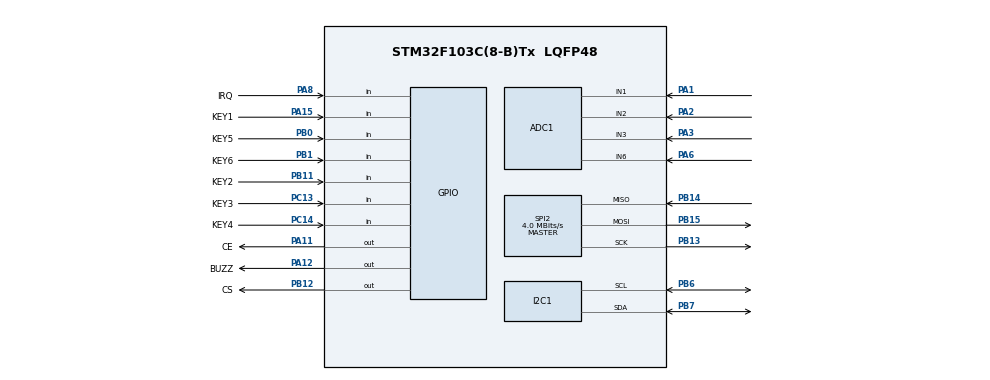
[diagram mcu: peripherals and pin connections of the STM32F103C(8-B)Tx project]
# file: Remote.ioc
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ADC1.Channel-4\#ChannelRegularConversion=ADC_CHANNEL_6
ADC1.Channel-5\#ChannelRegularConversion=ADC_CHANNEL_1
ADC1.Channel-6\#ChannelRegularConversion=ADC_CHANNEL_3
ADC1.Channel-7\#ChannelRegularConversion=ADC_CHANNEL_2
ADC1.ContinuousConvMode=ENABLE
ADC1.EnableRegularConversion=ENABLE
ADC1.NbrOfConversion=4
ADC1.NbrOfConversionFlag=1
ADC1.Rank-4\#ChannelRegularConversion=1
ADC1.Rank-5\#ChannelRegularConversion=2
ADC1.Rank-6\#ChannelRegularConversion=3
ADC1.Rank-7\#ChannelRegularConversion=4
ADC1.SamplingTime-4\#ChannelRegularConversion=ADC_SAMPLETIME_7CYCLES_5
ADC1.SamplingTime-5\#ChannelRegularConversion=ADC_SAMPLETIME_7CYCLES_5
ADC1.SamplingTime-6\#ChannelRegularConversion=ADC_SAMPLETIME_7CYCLES_5
ADC1.SamplingTime-7\#ChannelRegularConversion=ADC_SAMPLETIME_7CYCLES_5
ADC1.master=1
Dma.ADC1.0.Direction=DMA_PERIPH_TO_MEMORY
Dma.ADC1.0.Instance=DMA1_Channel1
Dma.ADC1.0.MemDataAlignment=DMA_MDATAALIGN_HALFWORD
Dma.ADC1.0.MemInc=DMA_MINC_ENABLE
Dma.ADC1.0.Mode=DMA_CIRCULAR
Dma.ADC1.0.PeriphDataAlignment=DMA_PDATAALIGN_HALFWORD
Dma.ADC1.0.PeriphInc=DMA_PINC_DISABLE
Dma.ADC1.0.Priority=DMA_PRIORITY_HIGH
Dma.Request0=ADC1
FREERTOS.INCLUDE_vTaskDelayUntil=1
FREERTOS.Tasks01=defaultTask,0,128,StartDefaultTask,Default,NULL,Dynamic,NULL,NULL;Task_4ms,2,128,StartTask_4ms,Default,NULL,Dynamic,NULL,NULL;Task_20ms,-3,128,StartTask_20ms,Default,NULL,Dynamic,NULL,NULL
FREERTOS.configUSE_NEWLIB_REENTRANT=1
Mcu.Family=STM32F1
Mcu.Name=STM32F103C(8-B)Tx
Mcu.Package=LQFP48
NVIC.DMA1_Channel1_IRQn=true\:5\:0\:false\:false\:true\:true\:false\:true\:true
NVIC.PriorityGroup=NVIC_PRIORITYGROUP_4
NVIC.TIM4_IRQn=true\:15\:0\:false\:false\:true\:false\:false\:true\:true
NVIC.TimeBase=TIM4_IRQn
NVIC.TimeBaseIP=TIM4
PA1.Signal=ADCx_IN1
PA11.GPIO_Label=CE
PA11.Signal=GPIO_Output
PA12.GPIO_Label=BUZZ
PA12.Signal=GPIO_Output
PA13.Mode=Serial_Wire
PA13.Signal=SYS_JTMS-SWDIO
PA14.Mode=Serial_Wire
PA14.Signal=SYS_JTCK-SWCLK
PA15.GPIO_Label=KEY1
PA15.GPIO_PuPd=GPIO_PULLUP
PA15.Signal=GPIO_Input
PA2.Signal=ADCx_IN2
PA3.Signal=ADCx_IN3
PA6.Signal=ADCx_IN6
PA8.GPIO_Label=IRQ
PA8.GPIO_PuPd=GPIO_NOPULL
PA8.Signal=GPIO_Input
PB0.GPIO_Label=KEY5
PB0.GPIO_PuPd=GPIO_PULLUP
PB0.Signal=GPIO_Input
PB1.GPIO_Label=KEY6
PB1.GPIO_PuPd=GPIO_PULLUP
PB1.Signal=GPIO_Input
PB11.GPIO_Label=KEY2
PB11.GPIO_PuPd=GPIO_PULLUP
PB11.Signal=GPIO_Input
PB12.GPIO_Label=CS
PB12.Signal=GPIO_Output
PB13.Mode=Full_Duplex_Master
PB13.Signal=SPI2_SCK
PB14.Mode=Full_Duplex_Master
PB14.Signal=SPI2_MISO
PB15.Mode=Full_Duplex_Master
PB15.Signal=SPI2_MOSI
PB6.Mode=I2C
PB6.Signal=I2C1_SCL
PB7.Mode=I2C
PB7.Signal=I2C1_SDA
PC13-TAMPER-RTC.GPIO_Label=KEY3
PC13-TAMPER-RTC.GPIO_PuPd=GPIO_PULLUP
PC13-TAMPER-RTC.Signal=GPIO_Input
PC14-OSC32_IN.GPIO_Label=KEY4
PC14-OSC32_IN.GPIO_PuPd=GPIO_PULLUP
PC14-OSC32_IN.Signal=GPIO_Input
ProjectManager.HeapSize=0x200
ProjectManager.StackSize=0x400
ProjectManager.TargetToolchain=STM32CubeIDE
RCC.APB1Freq_Value=8000000
RCC.APB2Freq_Value=8000000
SH.ADCx_IN1.0=ADC1_IN1,IN1
SH.ADCx_IN2.0=ADC1_IN2,IN2
SH.ADCx_IN3.0=ADC1_IN3,IN3
SH.ADCx_IN6.0=ADC1_IN6,IN6
SPI2.CalculateBaudRate=4.0 MBits/s
SPI2.Direction=SPI_DIRECTION_2LINES
SPI2.Mode=SPI_MODE_MASTER
SPI2.VirtualType=VM_MASTER
VP_FREERTOS_VS_CMSIS_V1.Mode=CMSIS_V1
VP_SYS_VS_tim4.Mode=TIM4
VP_TIM1_VS_ClockSourceINT.Mode=Internal
board=custom

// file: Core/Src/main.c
/* USER CODE BEGIN Header */
/**
  ******************************************************************************
  * @file           : main.c
  * @brief          : Main program body
  ******************************************************************************
  * @attention
  *
  * Copyright (c) 2024 STMicroelectronics.
  * All rights reserved.
  *
  * This software is licensed under terms that can be found in the LICENSE file
  * in the root directory of this software component.
  * If no LICENSE file comes with this software, it is provided AS-IS.
  *
  ******************************************************************************
  */
/* USER CODE END Header */
#include "main.h"
#include "cmsis_os.h"
#include "adc.h"
#include "dma.h"
#include "i2c.h"
#include "spi.h"
#include "tim.h"
#include "gpio.h"

/* USER CODE BEGIN Includes */
#include "stdio.h"
#include "nrf24L01.h"
#include "oled.h"

/* USER CODE END Includes */

/* USER CODE BEGIN PV */
	uint16_t ADC_Value[5];//ADC数值存储
/* USER CODE END PV */

void SystemClock_Config(void);
void MX_FREERTOS_Init(void);

int main(void)
{

  /* MCU Configuration--------------------------------------------------------*/

  /* Reset of all peripherals, Initializes the Flash interface and the Systick. */
  HAL_Init();

  /* Configure the system clock */
  SystemClock_Config();

  /* Initialize all configured peripherals */
  MX_GPIO_Init();
  MX_DMA_Init();
  MX_SPI2_Init();
  MX_TIM1_Init();
  MX_I2C1_Init();
  MX_ADC1_Init();
  /* USER CODE BEGIN 2 */

    NRF24L01_TX_Mode();//配置为发送模式

    //启动ADC的DMA
    HAL_ADC_Start_DMA(&hadc1, (uint32_t*)&ADC_Value, 4);
  /* USER CODE END 2 */

  /* Call init function for freertos objects (in freertos.c) */
  MX_FREERTOS_Init();

  /* Start scheduler */
  osKernelStart();

  /* We should never get here as control is now taken by the scheduler */
  /* Infinite loop */
  while (1)
  {

  }
}

void SystemClock_Config(void)
{
  RCC_OscInitTypeDef RCC_OscInitStruct = {0};
  RCC_ClkInitTypeDef RCC_ClkInitStruct = {0};
  RCC_PeriphCLKInitTypeDef PeriphClkInit = {0};

  /** Initializes the RCC Oscillators according to the specified parameters
  * in the RCC_OscInitTypeDef structure.
  */
  RCC_OscInitStruct.OscillatorType = RCC_OSCILLATORTYPE_HSI;
  RCC_OscInitStruct.HSIState = RCC_HSI_ON;
  RCC_OscInitStruct.HSICalibrationValue = RCC_HSICALIBRATION_DEFAULT;
  RCC_OscInitStruct.PLL.PLLState = RCC_PLL_NONE;
  if (HAL_RCC_OscConfig(&RCC_OscInitStruct) != HAL_OK)
  {
    Error_Handler();
  }

  /** Initializes the CPU, AHB and APB buses clocks
  */
  RCC_ClkInitStruct.ClockType = RCC_CLOCKTYPE_HCLK|RCC_CLOCKTYPE_SYSCLK
                              |RCC_CLOCKTYPE_PCLK1|RCC_CLOCKTYPE_PCLK2;
  RCC_ClkInitStruct.SYSCLKSource = RCC_SYSCLKSOURCE_HSI;
  RCC_ClkInitStruct.AHBCLKDivider = RCC_SYSCLK_DIV1;
  RCC_ClkInitStruct.APB1CLKDivider = RCC_HCLK_DIV1;
  RCC_ClkInitStruct.APB2CLKDivider = RCC_HCLK_DIV1;

  if (HAL_RCC_ClockConfig(&RCC_ClkInitStruct, FLASH_LATENCY_0) != HAL_OK)
  {
    Error_Handler();
  }
  PeriphClkInit.PeriphClockSelection = RCC_PERIPHCLK_ADC;
  PeriphClkInit.AdcClockSelection = RCC_ADCPCLK2_DIV2;
  if (HAL_RCCEx_PeriphCLKConfig(&PeriphClkInit) != HAL_OK)
  {
    Error_Handler();
  }
}

void HAL_TIM_PeriodElapsedCallback(TIM_HandleTypeDef *htim)
{
  if (htim->Instance == TIM4) {
    HAL_IncTick();
  }
}

void Error_Handler(void)
{
  __disable_irq();
  while (1)
  {
  }
}

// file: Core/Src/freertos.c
/* USER CODE BEGIN Header */
/**
  ******************************************************************************
  * File Name          : freertos.c
  * Description        : Code for freertos applications
  ******************************************************************************
  * @attention
  *
  * Copyright (c) 2024 STMicroelectronics.
  * All rights reserved.
  *
  * This software is licensed under terms that can be found in the LICENSE file
  * in the root directory of this software component.
  * If no LICENSE file comes with this software, it is provided AS-IS.
  *
  ******************************************************************************
  */
/* USER CODE END Header */

#include "FreeRTOS.h"
#include "task.h"
#include "main.h"
#include "cmsis_os.h"

/* USER CODE BEGIN Includes */
#include "nrf24L01.h"
#include "spi.h"
/* USER CODE END Includes */

osThreadId defaultTaskHandle;
osThreadId Task_4msHandle;
osThreadId Task_20msHandle;

void StartDefaultTask(void const * argument);
void StartTask_4ms(void const * argument);
void StartTask_20ms(void const * argument);

void MX_FREERTOS_Init(void); /* (MISRA C 2004 rule 8.1) */

/* GetIdleTaskMemory prototype (linked to static allocation support) */
void vApplicationGetIdleTaskMemory( StaticTask_t **ppxIdleTaskTCBBuffer, StackType_t **ppxIdleTaskStackBuffer, uint32_t *pulIdleTaskStackSize );

/* USER CODE BEGIN GET_IDLE_TASK_MEMORY */
static StaticTask_t xIdleTaskTCBBuffer;
static StackType_t xIdleStack[configMINIMAL_STACK_SIZE];

void vApplicationGetIdleTaskMemory( StaticTask_t **ppxIdleTaskTCBBuffer, StackType_t **ppxIdleTaskStackBuffer, uint32_t *pulIdleTaskStackSize )
{
  *ppxIdleTaskTCBBuffer = &xIdleTaskTCBBuffer;
  *ppxIdleTaskStackBuffer = &xIdleStack[0];
  *pulIdleTaskStackSize = configMINIMAL_STACK_SIZE;
  /* place for user code */
}
/* USER CODE END GET_IDLE_TASK_MEMORY */

void MX_FREERTOS_Init(void) {

  /* Create the thread(s) */
  /* definition and creation of defaultTask */
  osThreadDef(defaultTask, StartDefaultTask, osPriorityNormal, 0, 128);
  defaultTaskHandle = osThreadCreate(osThread(defaultTask), NULL);

  /* definition and creation of Task_4ms */
  osThreadDef(Task_4ms, StartTask_4ms, osPriorityHigh, 0, 128);
  Task_4msHandle = osThreadCreate(osThread(Task_4ms), NULL);

  /* definition and creation of Task_20ms */
  osThreadDef(Task_20ms, StartTask_20ms, osPriorityIdle, 0, 128);
  Task_20msHandle = osThreadCreate(osThread(Task_20ms), NULL);

}

void StartDefaultTask(void const * argument)
{
  for(;;)
  {
    osDelay(1);
  }
}

void StartTask_4ms(void const * argument)
{
  /* USER CODE BEGIN StartTask_4ms */
	TickType_t pxPreviousWakeTime;
	pxPreviousWakeTime = xTaskGetTickCount();
  /* Infinite loop */
  for(;;)
  {
	  Stick_Scan();//获取摇杆数据
	  RemoteData(TX_BUFF);//封装数据
	  NRF24L01_TxPacket(TX_BUFF);//发送数据
	  vTaskDelayUntil(&pxPreviousWakeTime, 4);
  }
  /* USER CODE END StartTask_4ms */
}

void StartTask_20ms(void const * argument)
{
  /* USER CODE BEGIN StartTask_20ms */
	TickType_t pxPreviousWakeTime;
	pxPreviousWakeTime = xTaskGetTickCount();
  /* Infinite loop */
  for(;;)
  {
	  KeyPress();//按键扫描
	  vTaskDelayUntil(&pxPreviousWakeTime, 20);
  }
  /* USER CODE END StartTask_20ms */
}
